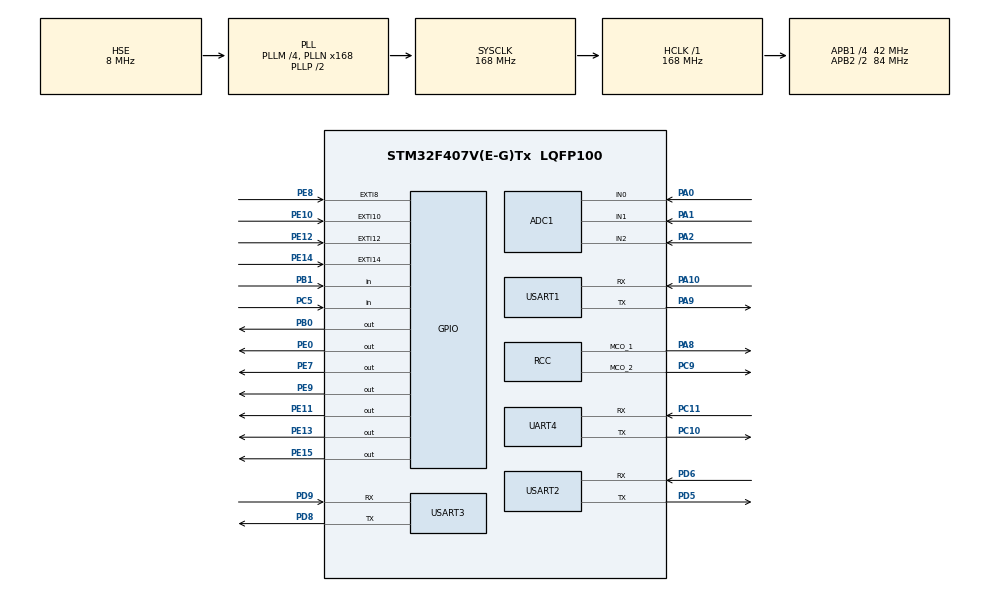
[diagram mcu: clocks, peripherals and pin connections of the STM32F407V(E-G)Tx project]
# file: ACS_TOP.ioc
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ADC1.Channel-0\#ChannelRegularConversion=ADC_CHANNEL_0
ADC1.Channel-1\#ChannelInjectedConversion=ADC_CHANNEL_0
ADC1.Channel-2\#ChannelInjectedConversion=ADC_CHANNEL_1
ADC1.Channel-3\#ChannelInjectedConversion=ADC_CHANNEL_2
ADC1.ClockPrescaler=ADC_CLOCK_SYNC_PCLK_DIV6
ADC1.InjNumberOfConversion=3
ADC1.InjectedOffset-1\#ChannelInjectedConversion=0
ADC1.InjectedOffset-2\#ChannelInjectedConversion=0
ADC1.InjectedOffset-3\#ChannelInjectedConversion=0
ADC1.InjectedRank-1\#ChannelInjectedConversion=1
ADC1.InjectedRank-2\#ChannelInjectedConversion=2
ADC1.InjectedRank-3\#ChannelInjectedConversion=3
ADC1.NbrOfConversion=1
ADC1.NbrOfConversionFlag=1
ADC1.Rank-0\#ChannelRegularConversion=1
ADC1.SamplingTime-0\#ChannelRegularConversion=ADC_SAMPLETIME_3CYCLES
ADC1.SamplingTime-1\#ChannelInjectedConversion=ADC_SAMPLETIME_3CYCLES
ADC1.SamplingTime-2\#ChannelInjectedConversion=ADC_SAMPLETIME_3CYCLES
ADC1.SamplingTime-3\#ChannelInjectedConversion=ADC_SAMPLETIME_3CYCLES
ADC1.master=1
Mcu.Family=STM32F4
Mcu.Name=STM32F407V(E-G)Tx
Mcu.Package=LQFP100
NVIC.EXTI15_10_IRQn=true\:0\:0\:false\:false\:true\:true\:true
NVIC.PriorityGroup=NVIC_PRIORITYGROUP_4
NVIC.RCC_IRQn=true\:0\:0\:false\:false\:true\:true\:false
NVIC.TIM1_TRG_COM_TIM11_IRQn=true\:0\:0\:false\:false\:true\:true\:true
NVIC.TIM8_BRK_TIM12_IRQn=true\:0\:0\:false\:false\:true\:true\:true
NVIC.TIM8_TRG_COM_TIM14_IRQn=true\:0\:0\:false\:false\:true\:true\:true
NVIC.TIM8_UP_TIM13_IRQn=true\:0\:0\:false\:false\:true\:true\:true
NVIC.USART1_IRQn=true\:0\:0\:false\:false\:true\:true\:true
NVIC.USART2_IRQn=true\:0\:0\:false\:false\:true\:true\:true
NVIC.USART3_IRQn=true\:0\:0\:false\:false\:true\:true\:true
PA0-WKUP.Signal=ADCx_IN0
PA1.Signal=ADCx_IN1
PA10.Mode=Asynchronous
PA10.Signal=USART1_RX
PA13.Mode=Serial_Wire
PA13.Signal=SYS_JTMS-SWDIO
PA14.Mode=Serial_Wire
PA14.Signal=SYS_JTCK-SWCLK
PA2.Signal=ADCx_IN2
PA8.Mode=Clock-out-1
PA8.Signal=RCC_MCO_1
PA9.Mode=Asynchronous
PA9.Signal=USART1_TX
PB0.Signal=GPIO_Output
PB1.Signal=GPIO_Input
PC10.Mode=Asynchronous
PC10.Signal=UART4_TX
PC11.Mode=Asynchronous
PC11.Signal=UART4_RX
PC14-OSC32_IN.Mode=LSE-External-Oscillator
PC14-OSC32_IN.Signal=RCC_OSC32_IN
PC15-OSC32_OUT.Mode=LSE-External-Oscillator
PC15-OSC32_OUT.Signal=RCC_OSC32_OUT
PC5.Signal=GPIO_Input
PC9.Mode=Clock-out-2
PC9.Signal=RCC_MCO_2
PD5.Mode=Asynchronous
PD5.Signal=USART2_TX
PD6.Mode=Asynchronous
PD6.Signal=USART2_RX
PD8.Mode=Asynchronous
PD8.Signal=USART3_TX
PD9.Mode=Asynchronous
PD9.Signal=USART3_RX
PE0.Signal=GPIO_Output
PE10.Signal=GPXTI10
PE11.Signal=GPIO_Output
PE12.Signal=GPXTI12
PE13.Signal=GPIO_Output
PE14.GPIO_ModeDefaultEXTI=GPIO_MODE_IT_RISING
PE14.Signal=GPXTI14
PE15.Signal=GPIO_Output
PE7.Signal=GPIO_Output
PE8.Signal=GPXTI8
PE9.Signal=GPIO_Output
PH0-OSC_IN.Mode=HSE-External-Oscillator
PH0-OSC_IN.Signal=RCC_OSC_IN
PH1-OSC_OUT.Mode=HSE-External-Oscillator
PH1-OSC_OUT.Signal=RCC_OSC_OUT
ProjectManager.HeapSize=0x2000
ProjectManager.StackSize=0x4000
ProjectManager.TargetToolchain=STM32CubeIDE
RCC.48MHZClocksFreq_Value=84000000
RCC.AHBFreq_Value=168000000
RCC.APB1CLKDivider=RCC_HCLK_DIV4
RCC.APB1Freq_Value=42000000
RCC.APB1TimFreq_Value=84000000
RCC.APB2CLKDivider=RCC_HCLK_DIV2
RCC.APB2Freq_Value=84000000
RCC.APB2TimFreq_Value=168000000
RCC.CortexFreq_Value=168000000
RCC.HCLKFreq_Value=168000000
RCC.HSE_VALUE=8000000
RCC.HSI_VALUE=16000000
RCC.PLLM=4
RCC.PLLN=168
RCC.PLLSourceVirtual=RCC_PLLSOURCE_HSE
RCC.RCC_MCO1Source=RCC_MCO1SOURCE_LSE
RCC.RCC_MCO2Source=RCC_MCO2SOURCE_HSE
RCC.RCC_RTC_Clock_Source=RCC_RTCCLKSOURCE_LSE
RCC.RCC_RTC_Clock_SourceVirtual=RCC_RTCCLKSOURCE_LSE
RCC.SYSCLKFreq_VALUE=168000000
RCC.SYSCLKSource=RCC_SYSCLKSOURCE_PLLCLK
RCC.VCOOutputFreq_Value=336000000
RTC.Format=RTC_FORMAT_BIN
SH.ADCx_IN0.0=ADC1_IN0,IN0
SH.ADCx_IN1.0=ADC1_IN1,IN1
SH.ADCx_IN2.0=ADC1_IN2,IN2
TIM12.Period=3000
TIM12.Prescaler=8399
TIM13.Period=5000
TIM13.Prescaler=8399
TIM14.Period=200
TIM14.Prescaler=8399
UART4.VirtualMode=Asynchronous
USART1.VirtualMode=VM_ASYNC
USART2.VirtualMode=VM_ASYNC
USART3.VirtualMode=VM_ASYNC
VP_RTC_VS_RTC_Activate.Mode=RTC_Enabled
VP_RTC_VS_RTC_Calendar.Mode=RTC_Calendar
VP_TIM11_VS_ClockSourceINT.Mode=Enable_Timer
VP_TIM12_VS_ClockSourceINT.Mode=Internal
VP_TIM13_VS_ClockSourceINT.Mode=Enable_Timer
VP_TIM14_VS_ClockSourceINT.Mode=Enable_Timer
board=custom

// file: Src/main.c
/* USER CODE BEGIN Header */
/**
  ******************************************************************************
  * @file           : main.c
  * @brief          : Main program body
  ******************************************************************************
  * @attention
  *
  * <h2><center>&copy; Copyright (c) 2020 STMicroelectronics.
  * All rights reserved.</center></h2>
  *
  * This software component is licensed by ST under BSD 3-Clause license,
  * the "License"; You may not use this file except in compliance with the
  * License. You may obtain a copy of the License at:
  *                        opensource.org/licenses/BSD-3-Clause
  *
  ******************************************************************************
  */
/* USER CODE END Header */
#include "main.h"

/* USER CODE BEGIN Includes */
#include "keyboard.h"
/* USER CODE END Includes */

ADC_HandleTypeDef hadc1;

RTC_HandleTypeDef hrtc;

TIM_HandleTypeDef htim11;
TIM_HandleTypeDef htim12;
TIM_HandleTypeDef htim13;
TIM_HandleTypeDef htim14;

UART_HandleTypeDef huart4;
UART_HandleTypeDef huart1;
UART_HandleTypeDef huart2;
UART_HandleTypeDef huart3;

/* USER CODE BEGIN PV */
//******** SYSTICK TIMER ********//
uint32_t sysTickCounter = 0;

//******** KEYBOARD VALUE ********//
extern uint8_t keyBoardStatus;

//******** KEYBOARD STATUS ********//

buttonStateTypeDef buttonLeft;
buttonStateTypeDef buttonRight;
buttonStateTypeDef buttonUp;
buttonStateTypeDef buttonDown;
buttonStateTypeDef buttonPolLeft;
buttonStateTypeDef buttonPolRight;

//******** ADC VALUE ********//
adcValueTypeDef adcValue = { 0, 0, 0 };

cmdDriveTypeDef driveAZ =  {0x7E, 0x05, 0x03, 0xF2, 0, 0, 0, 0};
cmdDriveTypeDef driveEL =  {0x7E, 0x05, 0x03, 0xF2, AXIS_EL, 0, 0, 0};
cmdDriveTypeDef drivePOL = {0x7E, 0x05, 0x03, 0xF2, AXIS_POL, 0, 0, 0};

uint8_t speedAz, speedEl, speedPol;

/* USER CODE END PV */

void SystemClock_Config(void);
static void MX_GPIO_Init(void);
static void MX_ADC1_Init(void);
static void MX_RTC_Init(void);
static void MX_UART4_Init(void);
static void MX_USART1_UART_Init(void);
static void MX_USART2_UART_Init(void);
static void MX_USART3_UART_Init(void);
static void MX_TIM12_Init(void);
static void MX_TIM13_Init(void);
static void MX_TIM14_Init(void);
static void MX_TIM11_Init(void);

int main(void)
{

  /* MCU Configuration--------------------------------------------------------*/

  /* Reset of all peripherals, Initializes the Flash interface and the Systick. */
  HAL_Init();

  /* Configure the system clock */
  SystemClock_Config();

  /* Initialize all configured peripherals */
  MX_GPIO_Init();
  MX_ADC1_Init();
  MX_RTC_Init();
  MX_UART4_Init();
  MX_USART1_UART_Init();
  MX_USART2_UART_Init();
  MX_USART3_UART_Init();
  MX_TIM12_Init();
  MX_TIM13_Init();
  MX_TIM14_Init();
  MX_TIM11_Init();
  /* USER CODE BEGIN 2 */
  if(HAL_GPIO_ReadPin(GPIOE,GPIO_PIN_14) == GPIO_PIN_RESET)
	  checkButtonLed();
//  HAL_TIM_Base_Start_IT(&htim11);//refresh LCD |APB2 168 MHz
//  HAL_TIM_Base_Start_IT(&htim12);//adc |APB1 84 MHz
  HAL_TIM_Base_Start_IT(&htim13);//softlimit // toggle led period 1s |APB1  84 MHz
  HAL_TIM_Base_Start_IT(&htim14);//keyboard |APB1  84 MHz

  /* USER CODE END 2 */

  /* Infinite loop */
  /* USER CODE BEGIN WHILE */
  while (1)
  {

	  getAdcValue();
	  HAL_Delay(100);
    /* USER CODE END WHILE */

  }
}

void SystemClock_Config(void)
{
  RCC_OscInitTypeDef RCC_OscInitStruct = {0};
  RCC_ClkInitTypeDef RCC_ClkInitStruct = {0};
  RCC_PeriphCLKInitTypeDef PeriphClkInitStruct = {0};

  /** Configure the main internal regulator output voltage
  */
  __HAL_RCC_PWR_CLK_ENABLE();
  __HAL_PWR_VOLTAGESCALING_CONFIG(PWR_REGULATOR_VOLTAGE_SCALE1);
  /** Initializes the RCC Oscillators according to the specified parameters
  * in the RCC_OscInitTypeDef structure.
  */
  RCC_OscInitStruct.OscillatorType = RCC_OSCILLATORTYPE_HSE|RCC_OSCILLATORTYPE_LSE;
  RCC_OscInitStruct.HSEState = RCC_HSE_ON;
  RCC_OscInitStruct.LSEState = RCC_LSE_ON;
  RCC_OscInitStruct.PLL.PLLState = RCC_PLL_ON;
  RCC_OscInitStruct.PLL.PLLSource = RCC_PLLSOURCE_HSE;
  RCC_OscInitStruct.PLL.PLLM = 4;
  RCC_OscInitStruct.PLL.PLLN = 168;
  RCC_OscInitStruct.PLL.PLLP = RCC_PLLP_DIV2;
  RCC_OscInitStruct.PLL.PLLQ = 4;
  if (HAL_RCC_OscConfig(&RCC_OscInitStruct) != HAL_OK)
  {
    Error_Handler();
  }
  /** Initializes the CPU, AHB and APB buses clocks
  */
  RCC_ClkInitStruct.ClockType = RCC_CLOCKTYPE_HCLK|RCC_CLOCKTYPE_SYSCLK
                              |RCC_CLOCKTYPE_PCLK1|RCC_CLOCKTYPE_PCLK2;
  RCC_ClkInitStruct.SYSCLKSource = RCC_SYSCLKSOURCE_PLLCLK;
  RCC_ClkInitStruct.AHBCLKDivider = RCC_SYSCLK_DIV1;
  RCC_ClkInitStruct.APB1CLKDivider = RCC_HCLK_DIV4;
  RCC_ClkInitStruct.APB2CLKDivider = RCC_HCLK_DIV2;

  if (HAL_RCC_ClockConfig(&RCC_ClkInitStruct, FLASH_LATENCY_5) != HAL_OK)
  {
    Error_Handler();
  }
  PeriphClkInitStruct.PeriphClockSelection = RCC_PERIPHCLK_RTC;
  PeriphClkInitStruct.RTCClockSelection = RCC_RTCCLKSOURCE_LSE;
  if (HAL_RCCEx_PeriphCLKConfig(&PeriphClkInitStruct) != HAL_OK)
  {
    Error_Handler();
  }
  HAL_RCC_MCOConfig(RCC_MCO1, RCC_MCO1SOURCE_LSE, RCC_MCODIV_1);
  HAL_RCC_MCOConfig(RCC_MCO2, RCC_MCO2SOURCE_HSE, RCC_MCODIV_1);
}

static void MX_ADC1_Init(void)
{

  ADC_ChannelConfTypeDef sConfig = {0};
  ADC_InjectionConfTypeDef sConfigInjected = {0};

  /** Configure the global features of the ADC (Clock, Resolution, Data Alignment and number of conversion)
  */
  hadc1.Instance = ADC1;
  hadc1.Init.ClockPrescaler = ADC_CLOCK_SYNC_PCLK_DIV6;
  hadc1.Init.Resolution = ADC_RESOLUTION_12B;
  hadc1.Init.ScanConvMode = ENABLE;
  hadc1.Init.ContinuousConvMode = DISABLE;
  hadc1.Init.DiscontinuousConvMode = DISABLE;
  hadc1.Init.ExternalTrigConvEdge = ADC_EXTERNALTRIGCONVEDGE_NONE;
  hadc1.Init.ExternalTrigConv = ADC_SOFTWARE_START;
  hadc1.Init.DataAlign = ADC_DATAALIGN_RIGHT;
  hadc1.Init.NbrOfConversion = 1;
  hadc1.Init.DMAContinuousRequests = DISABLE;
  hadc1.Init.EOCSelection = ADC_EOC_SINGLE_CONV;
  if (HAL_ADC_Init(&hadc1) != HAL_OK)
  {
    Error_Handler();
  }
  /** Configure for the selected ADC regular channel its corresponding rank in the sequencer and its sample time.
  */
  sConfig.Channel = ADC_CHANNEL_0;
  sConfig.Rank = 1;
  sConfig.SamplingTime = ADC_SAMPLETIME_3CYCLES;
  if (HAL_ADC_ConfigChannel(&hadc1, &sConfig) != HAL_OK)
  {
    Error_Handler();
  }
  /** Configures for the selected ADC injected channel its corresponding rank in the sequencer and its sample time
  */
  sConfigInjected.InjectedChannel = ADC_CHANNEL_0;
  sConfigInjected.InjectedRank = 1;
  sConfigInjected.InjectedNbrOfConversion = 3;
  sConfigInjected.InjectedSamplingTime = ADC_SAMPLETIME_3CYCLES;
  sConfigInjected.ExternalTrigInjecConvEdge = ADC_EXTERNALTRIGINJECCONVEDGE_NONE;
  sConfigInjected.ExternalTrigInjecConv = ADC_INJECTED_SOFTWARE_START;
  sConfigInjected.AutoInjectedConv = DISABLE;
  sConfigInjected.InjectedDiscontinuousConvMode = DISABLE;
  sConfigInjected.InjectedOffset = 0;
  if (HAL_ADCEx_InjectedConfigChannel(&hadc1, &sConfigInjected) != HAL_OK)
  {
    Error_Handler();
  }
  /** Configures for the selected ADC injected channel its corresponding rank in the sequencer and its sample time
  */
  sConfigInjected.InjectedChannel = ADC_CHANNEL_1;
  sConfigInjected.InjectedRank = 2;
  if (HAL_ADCEx_InjectedConfigChannel(&hadc1, &sConfigInjected) != HAL_OK)
  {
    Error_Handler();
  }
  /** Configures for the selected ADC injected channel its corresponding rank in the sequencer and its sample time
  */
  sConfigInjected.InjectedChannel = ADC_CHANNEL_2;
  sConfigInjected.InjectedRank = 3;
  if (HAL_ADCEx_InjectedConfigChannel(&hadc1, &sConfigInjected) != HAL_OK)
  {
    Error_Handler();
  }

}

static void MX_RTC_Init(void)
{

  /** Initialize RTC Only
  */
  hrtc.Instance = RTC;
  hrtc.Init.HourFormat = RTC_HOURFORMAT_24;
  hrtc.Init.AsynchPrediv = 127;
  hrtc.Init.SynchPrediv = 255;
  hrtc.Init.OutPut = RTC_OUTPUT_DISABLE;
  hrtc.Init.OutPutPolarity = RTC_OUTPUT_POLARITY_HIGH;
  hrtc.Init.OutPutType = RTC_OUTPUT_TYPE_OPENDRAIN;
  if (HAL_RTC_Init(&hrtc) != HAL_OK)
  {
    Error_Handler();
  }

  /** Initialize RTC and set the Time and Date
  */
/*  sTime.Hours = 0;
  sTime.Minutes = 0;
  sTime.Seconds = 0;
  sTime.DayLightSaving = RTC_DAYLIGHTSAVING_NONE;
  sTime.StoreOperation = RTC_STOREOPERATION_RESET;
  if (HAL_RTC_SetTime(&hrtc, &sTime, RTC_FORMAT_BIN) != HAL_OK)
  {
    Error_Handler();
  }
  sDate.WeekDay = RTC_WEEKDAY_MONDAY;
  sDate.Month = RTC_MONTH_JANUARY;
  sDate.Date = 1;
  sDate.Year = 0;

  if (HAL_RTC_SetDate(&hrtc, &sDate, RTC_FORMAT_BIN) != HAL_OK)
  {
    Error_Handler();
  }*/

}

static void MX_TIM11_Init(void)
{

  htim11.Instance = TIM11;
  htim11.Init.Prescaler = 0;
  htim11.Init.CounterMode = TIM_COUNTERMODE_UP;
  htim11.Init.Period = 65535;
  htim11.Init.ClockDivision = TIM_CLOCKDIVISION_DIV1;
  htim11.Init.AutoReloadPreload = TIM_AUTORELOAD_PRELOAD_DISABLE;
  if (HAL_TIM_Base_Init(&htim11) != HAL_OK)
  {
    Error_Handler();
  }

}

static void MX_TIM12_Init(void)
{

  TIM_ClockConfigTypeDef sClockSourceConfig = {0};

  htim12.Instance = TIM12;
  htim12.Init.Prescaler = 8399;
  htim12.Init.CounterMode = TIM_COUNTERMODE_UP;
  htim12.Init.Period = 3000;
  htim12.Init.ClockDivision = TIM_CLOCKDIVISION_DIV1;
  htim12.Init.AutoReloadPreload = TIM_AUTORELOAD_PRELOAD_DISABLE;
  if (HAL_TIM_Base_Init(&htim12) != HAL_OK)
  {
    Error_Handler();
  }
  sClockSourceConfig.ClockSource = TIM_CLOCKSOURCE_INTERNAL;
  if (HAL_TIM_ConfigClockSource(&htim12, &sClockSourceConfig) != HAL_OK)
  {
    Error_Handler();
  }

}

static void MX_TIM13_Init(void)
{

  htim13.Instance = TIM13;
  htim13.Init.Prescaler = 8399;
  htim13.Init.CounterMode = TIM_COUNTERMODE_UP;
  htim13.Init.Period = 5000;
  htim13.Init.ClockDivision = TIM_CLOCKDIVISION_DIV1;
  htim13.Init.AutoReloadPreload = TIM_AUTORELOAD_PRELOAD_DISABLE;
  if (HAL_TIM_Base_Init(&htim13) != HAL_OK)
  {
    Error_Handler();
  }

}

static void MX_TIM14_Init(void)
{

  htim14.Instance = TIM14;
  htim14.Init.Prescaler = 8399;
  htim14.Init.CounterMode = TIM_COUNTERMODE_UP;
  htim14.Init.Period = 200;
  htim14.Init.ClockDivision = TIM_CLOCKDIVISION_DIV1;
  htim14.Init.AutoReloadPreload = TIM_AUTORELOAD_PRELOAD_DISABLE;
  if (HAL_TIM_Base_Init(&htim14) != HAL_OK)
  {
    Error_Handler();
  }

}

static void MX_UART4_Init(void)
{

  huart4.Instance = UART4;
  huart4.Init.BaudRate = 115200;
  huart4.Init.WordLength = UART_WORDLENGTH_8B;
  huart4.Init.StopBits = UART_STOPBITS_1;
  huart4.Init.Parity = UART_PARITY_NONE;
  huart4.Init.Mode = UART_MODE_TX_RX;
  huart4.Init.HwFlowCtl = UART_HWCONTROL_NONE;
  huart4.Init.OverSampling = UART_OVERSAMPLING_16;
  if (HAL_UART_Init(&huart4) != HAL_OK)
  {
    Error_Handler();
  }

}

static void MX_USART1_UART_Init(void)
{

  huart1.Instance = USART1;
  huart1.Init.BaudRate = 115200;
  huart1.Init.WordLength = UART_WORDLENGTH_8B;
  huart1.Init.StopBits = UART_STOPBITS_1;
  huart1.Init.Parity = UART_PARITY_NONE;
  huart1.Init.Mode = UART_MODE_TX_RX;
  huart1.Init.HwFlowCtl = UART_HWCONTROL_NONE;
  huart1.Init.OverSampling = UART_OVERSAMPLING_16;
  if (HAL_UART_Init(&huart1) != HAL_OK)
  {
    Error_Handler();
  }

}

static void MX_USART2_UART_Init(void)
{

  huart2.Instance = USART2;
  huart2.Init.BaudRate = 115200;
  huart2.Init.WordLength = UART_WORDLENGTH_8B;
  huart2.Init.StopBits = UART_STOPBITS_1;
  huart2.Init.Parity = UART_PARITY_NONE;
  huart2.Init.Mode = UART_MODE_TX_RX;
  huart2.Init.HwFlowCtl = UART_HWCONTROL_NONE;
  huart2.Init.OverSampling = UART_OVERSAMPLING_16;
  if (HAL_UART_Init(&huart2) != HAL_OK)
  {
    Error_Handler();
  }

}

static void MX_USART3_UART_Init(void)
{

  huart3.Instance = USART3;
  huart3.Init.BaudRate = 115200;
  huart3.Init.WordLength = UART_WORDLENGTH_8B;
  huart3.Init.StopBits = UART_STOPBITS_1;
  huart3.Init.Parity = UART_PARITY_NONE;
  huart3.Init.Mode = UART_MODE_TX_RX;
  huart3.Init.HwFlowCtl = UART_HWCONTROL_NONE;
  huart3.Init.OverSampling = UART_OVERSAMPLING_16;
  if (HAL_UART_Init(&huart3) != HAL_OK)
  {
    Error_Handler();
  }

}

static void MX_GPIO_Init(void)
{
  GPIO_InitTypeDef GPIO_InitStruct = {0};

  /* GPIO Ports Clock Enable */
  __HAL_RCC_GPIOC_CLK_ENABLE();
  __HAL_RCC_GPIOH_CLK_ENABLE();
  __HAL_RCC_GPIOA_CLK_ENABLE();
  __HAL_RCC_GPIOB_CLK_ENABLE();
  __HAL_RCC_GPIOE_CLK_ENABLE();
  __HAL_RCC_GPIOD_CLK_ENABLE();

  /*Configure GPIO pin Output Level */
  HAL_GPIO_WritePin(GPIOB, GPIO_PIN_0, GPIO_PIN_RESET);

  /*Configure GPIO pin Output Level */
  HAL_GPIO_WritePin(GPIOE, GPIO_PIN_7|GPIO_PIN_9|GPIO_PIN_11|GPIO_PIN_13
                          |GPIO_PIN_15|GPIO_PIN_0, GPIO_PIN_RESET);

  /*Configure GPIO pin : PC5 */
  GPIO_InitStruct.Pin = GPIO_PIN_5;
  GPIO_InitStruct.Mode = GPIO_MODE_INPUT;
  GPIO_InitStruct.Pull = GPIO_NOPULL;
  HAL_GPIO_Init(GPIOC, &GPIO_InitStruct);

  /*Configure GPIO pin : PB0 */
  GPIO_InitStruct.Pin = GPIO_PIN_0;
  GPIO_InitStruct.Mode = GPIO_MODE_OUTPUT_PP;
  GPIO_InitStruct.Pull = GPIO_NOPULL;
  GPIO_InitStruct.Speed = GPIO_SPEED_FREQ_LOW;
  HAL_GPIO_Init(GPIOB, &GPIO_InitStruct);

  /*Configure GPIO pin : PB1 */
  GPIO_InitStruct.Pin = GPIO_PIN_1;
  GPIO_InitStruct.Mode = GPIO_MODE_INPUT;
  GPIO_InitStruct.Pull = GPIO_NOPULL;
  HAL_GPIO_Init(GPIOB, &GPIO_InitStruct);

  /*Configure GPIO pins : PE7 PE9 PE11 PE13
                           PE15 PE0 */
  GPIO_InitStruct.Pin = GPIO_PIN_7|GPIO_PIN_9|GPIO_PIN_11|GPIO_PIN_13
                          |GPIO_PIN_15|GPIO_PIN_0;
  GPIO_InitStruct.Mode = GPIO_MODE_OUTPUT_PP;
  GPIO_InitStruct.Pull = GPIO_NOPULL;
  GPIO_InitStruct.Speed = GPIO_SPEED_FREQ_LOW;
  HAL_GPIO_Init(GPIOE, &GPIO_InitStruct);

  /*Configure GPIO pins : PE8 PE10 PE12 PE14 */
  GPIO_InitStruct.Pin = GPIO_PIN_8|GPIO_PIN_10|GPIO_PIN_12|GPIO_PIN_14;
  GPIO_InitStruct.Mode = GPIO_MODE_IT_RISING;
  GPIO_InitStruct.Pull = GPIO_NOPULL;
  HAL_GPIO_Init(GPIOE, &GPIO_InitStruct);

  /*Configure GPIO pin : PC9 */
  GPIO_InitStruct.Pin = GPIO_PIN_9;
  GPIO_InitStruct.Mode = GPIO_MODE_AF_PP;
  GPIO_InitStruct.Pull = GPIO_NOPULL;
  GPIO_InitStruct.Speed = GPIO_SPEED_FREQ_LOW;
  GPIO_InitStruct.Alternate = GPIO_AF0_MCO;
  HAL_GPIO_Init(GPIOC, &GPIO_InitStruct);

  /*Configure GPIO pin : PA8 */
  GPIO_InitStruct.Pin = GPIO_PIN_8;
  GPIO_InitStruct.Mode = GPIO_MODE_AF_PP;
  GPIO_InitStruct.Pull = GPIO_NOPULL;
  GPIO_InitStruct.Speed = GPIO_SPEED_FREQ_LOW;
  GPIO_InitStruct.Alternate = GPIO_AF0_MCO;
  HAL_GPIO_Init(GPIOA, &GPIO_InitStruct);

  /* EXTI interrupt init*/
  HAL_NVIC_SetPriority(EXTI15_10_IRQn, 0, 0);
  HAL_NVIC_EnableIRQ(EXTI15_10_IRQn);

}

/* USER CODE BEGIN 4 */
void getAdcValue(void)
{
	HAL_ADCEx_InjectedStart(&hadc1);
	HAL_ADC_PollForConversion(&hadc1, 100);

	adcValue.adcValuePilot = HAL_ADCEx_InjectedGetValue(&hadc1, ADC_INJECTED_RANK_1);
	adcValue.adcValueSpeedAz = (~HAL_ADCEx_InjectedGetValue(&hadc1, ADC_INJECTED_RANK_2))&0x0FFF;
	adcValue.adcValueSpeedEl = (~HAL_ADCEx_InjectedGetValue(&hadc1, ADC_INJECTED_RANK_3))&0x0FFF;

	HAL_ADCEx_InjectedStop(&hadc1);
}

void HAL_GPIO_EXTI_Callback(uint16_t GPIO_Pin)
{
	if (GPIO_Pin == GPIO_PIN_14) {
		buttonLeft = unpressed;
	}
}

/* USER CODE END 4 */

void Error_Handler(void)
{
}

/************************ (C) COPYRIGHT STMicroelectronics *****END OF FILE****/
